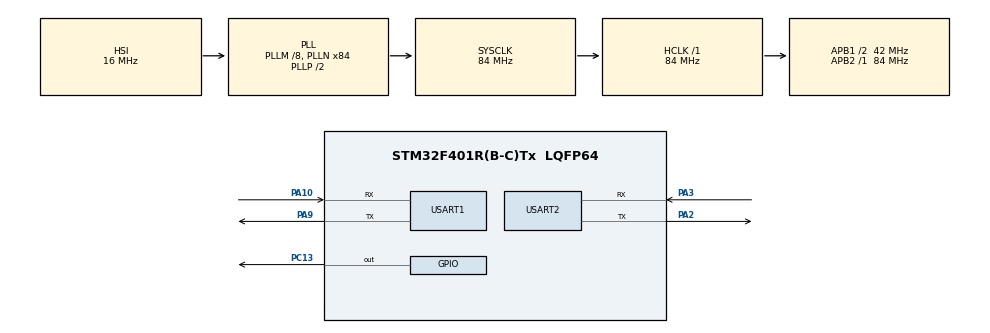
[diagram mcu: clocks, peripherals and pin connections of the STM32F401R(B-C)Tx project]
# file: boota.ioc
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FREERTOS.BinarySemaphores01=myBinarySem01,Dynamic,NULL
FREERTOS.CountingSemaphores01=myCountingSem01,2,Dynamic,NULL
FREERTOS.Tasks01=Mytask1,8,128,StartTask01,Default,NULL,Dynamic,NULL,NULL;myTask02,8,128,StartTask02,Default,NULL,Dynamic,NULL,NULL;myTask03,8,128,StartTask03,Default,NULL,Dynamic,NULL,NULL;myTask04,8,128,StartTask04,Default,NULL,Dynamic,NULL,NULL;myTask05,8,128,StartTask05,Default,NULL,Dynamic,NULL,NULL
FREERTOS.configUSE_IDLE_HOOK=1
Mcu.Family=STM32F4
Mcu.Name=STM32F401R(B-C)Tx
Mcu.Package=LQFP64
NVIC.PriorityGroup=NVIC_PRIORITYGROUP_4
NVIC.TIM1_UP_TIM10_IRQn=true\:15\:0\:false\:false\:true\:false\:false\:true\:true
NVIC.TimeBase=TIM1_UP_TIM10_IRQn
NVIC.TimeBaseIP=TIM1
PA10.Mode=Asynchronous
PA10.Signal=USART1_RX
PA2.Mode=Asynchronous
PA2.Signal=USART2_TX
PA3.Mode=Asynchronous
PA3.Signal=USART2_RX
PA9.Mode=Asynchronous
PA9.Signal=USART1_TX
PC13-ANTI_TAMP.Signal=GPIO_Output
PH0\ -\ OSC_IN.Mode=HSE-External-Oscillator
PH0\ -\ OSC_IN.Signal=RCC_OSC_IN
PH1\ -\ OSC_OUT.Mode=HSE-External-Oscillator
PH1\ -\ OSC_OUT.Signal=RCC_OSC_OUT
ProjectManager.HeapSize=0x200
ProjectManager.StackSize=0x400
ProjectManager.TargetToolchain=STM32CubeIDE
RCC.48MHZClocksFreq_Value=42000000
RCC.AHBFreq_Value=84000000
RCC.APB1CLKDivider=RCC_HCLK_DIV2
RCC.APB1Freq_Value=42000000
RCC.APB1TimFreq_Value=84000000
RCC.APB2Freq_Value=84000000
RCC.APB2TimFreq_Value=84000000
RCC.CortexFreq_Value=84000000
RCC.HCLKFreq_Value=84000000
RCC.HSE_VALUE=8000000
RCC.HSI_VALUE=16000000
RCC.LSE_VALUE=32768
RCC.PLLM=8
RCC.PLLN=84
RCC.SYSCLKFreq_VALUE=84000000
RCC.SYSCLKSource=RCC_SYSCLKSOURCE_PLLCLK
RCC.VCOOutputFreq_Value=168000000
USART1.VirtualMode=VM_ASYNC
USART2.VirtualMode=VM_ASYNC
VP_CRC_VS_CRC.Mode=CRC_Activate
VP_FREERTOS_VS_CMSIS_V2.Mode=CMSIS_V2
VP_SYS_VS_tim1.Mode=TIM1
board=custom

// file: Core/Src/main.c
/* USER CODE BEGIN Header */
/**
  ******************************************************************************
  * @file           : main.c
  * @brief          : Main program body
  ******************************************************************************
  * @attention
  *
  * Copyright (c) 2023 STMicroelectronics.
  * All rights reserved.
  *
  * This software is licensed under terms that can be found in the LICENSE file
  * in the root directory of this software component.
  * If no LICENSE file comes with this software, it is provided AS-IS.
  *
  ******************************************************************************
  */
/* USER CODE END Header */
#include "main.h"
#include "cmsis_os.h"
#include "crc.h"
#include "usart.h"
#include "gpio.h"

void SystemClock_Config(void);
void MX_FREERTOS_Init(void);

int main(void)
{

  /* MCU Configuration--------------------------------------------------------*/

  /* Reset of all peripherals, Initializes the Flash interface and the Systick. */
  HAL_Init();

  /* USER CODE BEGIN Init */
  //uint8_t mssg[] = "seif %d \r\n";

  /* USER CODE END Init */

  /* Configure the system clock */
  SystemClock_Config();

  /* Initialize all configured peripherals */
  MX_GPIO_Init();
  MX_CRC_Init();
  MX_USART2_UART_Init();
  MX_USART1_UART_Init();

  /* Init scheduler */
  osKernelInitialize();

  /* Call init function for freertos objects (in freertos.c) */
  MX_FREERTOS_Init();

  /* Start scheduler */
  osKernelStart();

  /* We should never get here as control is now taken by the scheduler */
  /* Infinite loop */
  while (1)
  {

    /* USER CODE BEGIN 3 */

	  BL_fetch_hostCommand();

  }
  /* USER CODE END 3 */
}

void SystemClock_Config(void)
{
  RCC_OscInitTypeDef RCC_OscInitStruct = {0};
  RCC_ClkInitTypeDef RCC_ClkInitStruct = {0};

  /** Configure the main internal regulator output voltage
  */
  __HAL_RCC_PWR_CLK_ENABLE();
  __HAL_PWR_VOLTAGESCALING_CONFIG(PWR_REGULATOR_VOLTAGE_SCALE2);

  /** Initializes the RCC Oscillators according to the specified parameters
  * in the RCC_OscInitTypeDef structure.
  */
  RCC_OscInitStruct.OscillatorType = RCC_OSCILLATORTYPE_HSI;
  RCC_OscInitStruct.HSIState = RCC_HSI_ON;
  RCC_OscInitStruct.HSICalibrationValue = RCC_HSICALIBRATION_DEFAULT;
  RCC_OscInitStruct.PLL.PLLState = RCC_PLL_ON;
  RCC_OscInitStruct.PLL.PLLSource = RCC_PLLSOURCE_HSI;
  RCC_OscInitStruct.PLL.PLLM = 8;
  RCC_OscInitStruct.PLL.PLLN = 84;
  RCC_OscInitStruct.PLL.PLLP = RCC_PLLP_DIV2;
  RCC_OscInitStruct.PLL.PLLQ = 4;
  if (HAL_RCC_OscConfig(&RCC_OscInitStruct) != HAL_OK)
  {
    Error_Handler();
  }

  /** Initializes the CPU, AHB and APB buses clocks
  */
  RCC_ClkInitStruct.ClockType = RCC_CLOCKTYPE_HCLK|RCC_CLOCKTYPE_SYSCLK
                              |RCC_CLOCKTYPE_PCLK1|RCC_CLOCKTYPE_PCLK2;
  RCC_ClkInitStruct.SYSCLKSource = RCC_SYSCLKSOURCE_PLLCLK;
  RCC_ClkInitStruct.AHBCLKDivider = RCC_SYSCLK_DIV1;
  RCC_ClkInitStruct.APB1CLKDivider = RCC_HCLK_DIV2;
  RCC_ClkInitStruct.APB2CLKDivider = RCC_HCLK_DIV1;

  if (HAL_RCC_ClockConfig(&RCC_ClkInitStruct, FLASH_LATENCY_2) != HAL_OK)
  {
    Error_Handler();
  }
}

void HAL_TIM_PeriodElapsedCallback(TIM_HandleTypeDef *htim)
{
  if (htim->Instance == TIM1) {
    HAL_IncTick();
  }
}

void Error_Handler(void)
{
  __disable_irq();
  while (1)
  {
  }
}

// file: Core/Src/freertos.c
/* USER CODE BEGIN Header */
/**
  ******************************************************************************
  * File Name          : freertos.c
  * Description        : Code for freertos applications
  ******************************************************************************
  * @attention
  *
  * Copyright (c) 2023 STMicroelectronics.
  * All rights reserved.
  *
  * This software is licensed under terms that can be found in the LICENSE file
  * in the root directory of this software component.
  * If no LICENSE file comes with this software, it is provided AS-IS.
  *
  ******************************************************************************
  */
/* USER CODE END Header */

#include "FreeRTOS.h"
#include "task.h"
#include "main.h"
#include "cmsis_os.h"

/* USER CODE BEGIN Includes */
static void BL_print_message(uint8_t *format, ...)
{
	uint8_t message[100] = {0};
	va_list args;
	va_start(args,format);
	vsprintf(message, format, args);
	HAL_UART_Transmit(BL_USART,message,sizeof(message),HAL_MAX_DELAY);
	va_end(args);
}

/* USER CODE END Includes */

/* USER CODE BEGIN Variables */
uint32_t Shared_Resourse;
uint8_t Non_Reentrant_Fun(void)
{
	Shared_Resourse++;
}
/* USER CODE END Variables */
/* Definitions for Mytask1 */
osThreadId_t Mytask1Handle;
const osThreadAttr_t Mytask1_attributes = {
  .name = "Mytask1",
  .stack_size = 128 * 4,
  .priority = (osPriority_t) osPriorityLow,
};
/* Definitions for myTask02 */
osThreadId_t myTask02Handle;
const osThreadAttr_t myTask02_attributes = {
  .name = "myTask02",
  .stack_size = 128 * 4,
  .priority = (osPriority_t) osPriorityLow,
};
/* Definitions for myTask03 */
osThreadId_t myTask03Handle;
const osThreadAttr_t myTask03_attributes = {
  .name = "myTask03",
  .stack_size = 128 * 4,
  .priority = (osPriority_t) osPriorityLow,
};
/* Definitions for myTask04 */
osThreadId_t myTask04Handle;
const osThreadAttr_t myTask04_attributes = {
  .name = "myTask04",
  .stack_size = 128 * 4,
  .priority = (osPriority_t) osPriorityLow,
};
/* Definitions for myTask05 */
osThreadId_t myTask05Handle;
const osThreadAttr_t myTask05_attributes = {
  .name = "myTask05",
  .stack_size = 128 * 4,
  .priority = (osPriority_t) osPriorityLow,
};
/* Definitions for myBinarySem01 */
osSemaphoreId_t myBinarySem01Handle;
const osSemaphoreAttr_t myBinarySem01_attributes = {
  .name = "myBinarySem01"
};
/* Definitions for myCountingSem01 */
osSemaphoreId_t myCountingSem01Handle;
const osSemaphoreAttr_t myCountingSem01_attributes = {
  .name = "myCountingSem01"
};

void StartTask01(void *argument);
void StartTask02(void *argument);
void StartTask03(void *argument);
void StartTask04(void *argument);
void StartTask05(void *argument);

void MX_FREERTOS_Init(void); /* (MISRA C 2004 rule 8.1) */

/* Hook prototypes */
void vApplicationIdleHook(void);

/* USER CODE BEGIN 2 */
void vApplicationIdleHook( void )
{
   /* vApplicationIdleHook() will only be called if configUSE_IDLE_HOOK is set
   to 1 in FreeRTOSConfig.h. It will be called on each iteration of the idle
   task. It is essential that code added to this hook function never attempts
   to block in any way (for example, call xQueueReceive() with a block time
   specified, or call vTaskDelay()). If the application makes use of the
   vTaskDelete() API function (as this demo application does) then it is also
   important that vApplicationIdleHook() is permitted to return to its calling
   function, because it is the responsibility of the idle task to clean up
   memory allocated by the kernel to any task that has since been deleted. */
}
/* USER CODE END 2 */

void MX_FREERTOS_Init(void) {

  /* Create the semaphores(s) */
  /* creation of myBinarySem01 */
  myBinarySem01Handle = osSemaphoreNew(1, 0, &myBinarySem01_attributes);

  /* creation of myCountingSem01 */
  myCountingSem01Handle = osSemaphoreNew(2, 0, &myCountingSem01_attributes);

  /* Create the thread(s) */
  /* creation of Mytask1 */
  Mytask1Handle = osThreadNew(StartTask01, NULL, &Mytask1_attributes);

  /* creation of myTask02 */
  myTask02Handle = osThreadNew(StartTask02, NULL, &myTask02_attributes);

  /* creation of myTask03 */
  myTask03Handle = osThreadNew(StartTask03, NULL, &myTask03_attributes);

  /* creation of myTask04 */
  myTask04Handle = osThreadNew(StartTask04, NULL, &myTask04_attributes);

  /* creation of myTask05 */
  myTask05Handle = osThreadNew(StartTask05, NULL, &myTask05_attributes);

}

void StartTask01(void *argument)
{
  /* USER CODE BEGIN StartTask01 */
  /* Infinite loop */
  for(;;)
  {
	  BL_print_message("\r\n Task1 is released -> \n");
	  osSemaphoreRelease(myCountingSem01Handle);
	  osDelay(2000);
  }
  /* USER CODE END StartTask01 */
}

void StartTask02(void *argument)
{
  /* USER CODE BEGIN StartTask02 */
	uint32_t Task_Counter = 0;
  /* Infinite loop */
  for(;;)
  {
	BL_print_message("\r\n Task2 is running %d \r\n", Task_Counter);
	Task_Counter++;
	osSemaphoreRelease(myCountingSem01Handle);
	osDelay(2000);
  }
  /* USER CODE END StartTask02 */
}

void StartTask03(void *argument)
{
  /* USER CODE BEGIN StartTask03 */
	uint32_t Task_Counter = 0;
  /* Infinite loop */
  for(;;)
  {
	osSemaphoreAcquire(myCountingSem01Handle, 4000);
	osSemaphoreAcquire(myCountingSem01Handle, 4000);
	BL_print_message("\r\n Task3 is running %d \r\n", Task_Counter);
	Task_Counter++;

  }
  /* USER CODE END StartTask03 */
}

void StartTask04(void *argument)
{
  /* USER CODE BEGIN StartTask04 */

  /* Infinite loop */
  for(;;)
  {
	osSemaphoreAcquire(myBinarySem01Handle, 4000);
	Non_Reentrant_Fun();
	osSemaphoreRelease(myBinarySem01Handle);
    osDelay(4000);
  }
  /* USER CODE END StartTask04 */
}

void StartTask05(void *argument)
{
  /* USER CODE BEGIN StartTask05 */
  /* Infinite loop */
  for(;;)
  {
	osSemaphoreAcquire(myBinarySem01Handle, 4000);
	BL_print_message("\r\n shared resource updated %d \r\n", Shared_Resourse);
	osSemaphoreRelease(myBinarySem01Handle);
    osDelay(4000);
  }
  /* USER CODE END StartTask05 */
}
